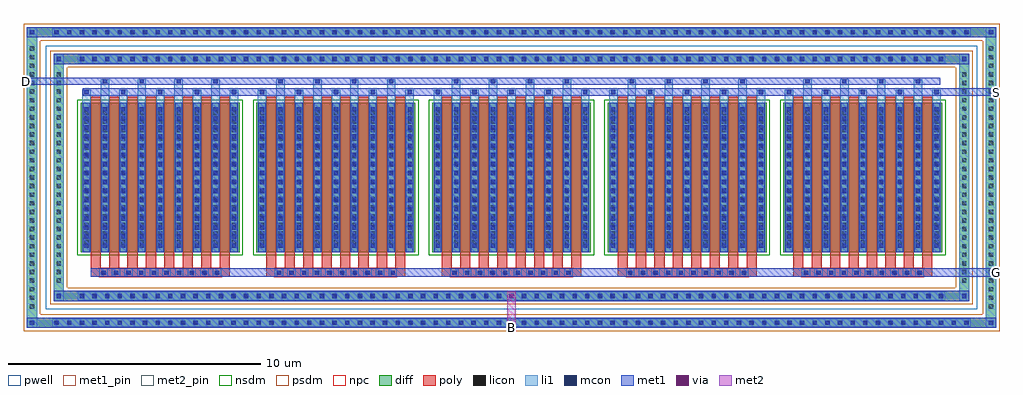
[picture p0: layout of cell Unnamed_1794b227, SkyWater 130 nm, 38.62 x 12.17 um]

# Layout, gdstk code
import gdstk
lib = gdstk.Library(unit=1e-6, precision=5e-09)
def R(c, l, rs):  # rectangles x0, y0, x1, y1
    for r in rs: c.add(gdstk.rectangle(r[:2], r[2:], *l))
def A(c, l, x, y, w, h, nx, ny, dx, dy):  # array of equal rectangles
    R(c, l, [(x+i*dx, y+j*dy, x+i*dx+w, y+j*dy+h) for i in range(nx) for j in range(ny)])
def P(c, l, *ps):  # polygons
    for p in ps: c.add(gdstk.Polygon(p, *l))
pwell = (64, 44)
diff = (65, 20)
poly = (66, 20)
licon = (66, 44)
li1 = (67, 20)
mcon = (67, 44)
met1_pin = (68, 16)
met1 = (68, 20)
via = (68, 44)
met2_pin = (69, 16)
met2 = (69, 20)
nsdm = (93, 44)
psdm = (94, 20)
npc = (95, 20)

unnamed_1794b227 = lib.new_cell('Unnamed_1794b227')
R(unnamed_1794b227, pwell, [(-18.43,-5.205,18.43,5.205)])
A(unnamed_1794b227, diff, -18.205, -5.955, 0.41, 0.41, 73, 2, 0.5, 11.5)
A(unnamed_1794b227, diff, -19.18, -5.305, 0.41, 0.41, 1, 31, 0, 0.34)
A(unnamed_1794b227, diff, 18.77, -5.305, 0.41, 0.41, 1, 31, 0, 0.34)
A(unnamed_1794b227, diff, -17.205, -4.895, 0.41, 0.41, 69, 2, 0.5, 9.38)
A(unnamed_1794b227, diff, -18.12, -4.285, 0.41, 0.41, 1, 25, 0, 0.34)
A(unnamed_1794b227, diff, 17.71, -4.285, 0.41, 0.41, 1, 25, 0, 0.34)
A(unnamed_1794b227, diff, -17.045, -2.95, 6.29, 5.9, 5, 1, 6.95, 0)
R(unnamed_1794b227, diff, [(-18.205,-5.955,18.205,-5.545), (-19.18,-5.305,-18.77,5.305), (18.77,-5.305,19.18,5.305), (-17.205,-4.895,17.205,-4.485), (-18.12,-4.285,-17.71,4.285), (17.71,-4.285,18.12,4.285), (-17.205,4.485,17.205,4.895), (-18.205,5.545,18.205,5.955)])
P(unnamed_1794b227, diff, [(19.18,5.955),(-19.18,5.955),(-19.18,-5.545),(-18.77,-5.545),(-18.77,5.545),(18.77,5.545),(18.77,-5.545),(-18.77,-5.545),(-19.18,-5.545),(-19.18,-5.955),(19.18,-5.955)],
  [(18.12,4.895),(-18.12,4.895),(-18.12,-4.485),(-17.71,-4.485),(-17.71,4.485),(17.71,4.485),(17.71,-4.485),(-17.71,-4.485),(-18.12,-4.485),(-18.12,-4.895),(18.12,-4.895)])
A(unnamed_1794b227, poly, -16.655, -3.93, 5.51, 0.33, 5, 1, 6.95, 0)
A(unnamed_1794b227, poly, -16.315, -3.93, 0.33, 0.33, 10, 1, 0.5, 0)
A(unnamed_1794b227, poly, -9.365, -3.93, 0.33, 0.33, 10, 1, 0.5, 0)
A(unnamed_1794b227, poly, -2.415, -3.93, 0.33, 0.33, 10, 1, 0.5, 0)
A(unnamed_1794b227, poly, 4.535, -3.93, 0.33, 0.33, 10, 1, 0.5, 0)
A(unnamed_1794b227, poly, 11.485, -3.93, 0.33, 0.33, 10, 1, 0.5, 0)
A(unnamed_1794b227, poly, -16.655, -3.6, 0.4, 0.4, 8, 1, 0.73, 0)
A(unnamed_1794b227, poly, -9.705, -3.6, 0.4, 0.4, 8, 1, 0.73, 0)
A(unnamed_1794b227, poly, -2.755, -3.6, 0.4, 0.4, 8, 1, 0.73, 0)
A(unnamed_1794b227, poly, 4.195, -3.6, 0.4, 0.4, 8, 1, 0.73, 0)
A(unnamed_1794b227, poly, 11.145, -3.6, 0.4, 0.4, 8, 1, 0.73, 0)
A(unnamed_1794b227, poly, -16.655, -3.2, 0.4, 6.4, 8, 1, 0.73, 0)
A(unnamed_1794b227, poly, -9.705, -3.2, 0.4, 6.4, 8, 1, 0.73, 0)
A(unnamed_1794b227, poly, -2.755, -3.2, 0.4, 6.4, 8, 1, 0.73, 0)
A(unnamed_1794b227, poly, 4.195, -3.2, 0.4, 6.4, 8, 1, 0.73, 0)
A(unnamed_1794b227, poly, 11.145, -3.2, 0.4, 6.4, 8, 1, 0.73, 0)
A(unnamed_1794b227, licon, -18.085, -5.835, 0.17, 0.17, 73, 2, 0.5, 11.5)
A(unnamed_1794b227, licon, -19.06, -5.185, 0.17, 0.17, 1, 31, 0, 0.34)
A(unnamed_1794b227, licon, 18.89, -5.185, 0.17, 0.17, 1, 31, 0, 0.34)
A(unnamed_1794b227, licon, -17.085, -4.775, 0.17, 0.17, 69, 2, 0.5, 9.38)
A(unnamed_1794b227, licon, -18, -4.165, 0.17, 0.17, 1, 25, 0, 0.34)
A(unnamed_1794b227, licon, 17.83, -4.165, 0.17, 0.17, 1, 25, 0, 0.34)
A(unnamed_1794b227, licon, -16.235, -3.85, 0.17, 0.17, 10, 1, 0.5, 0)
A(unnamed_1794b227, licon, -9.285, -3.85, 0.17, 0.17, 10, 1, 0.5, 0)
A(unnamed_1794b227, licon, -2.335, -3.85, 0.17, 0.17, 10, 1, 0.5, 0)
A(unnamed_1794b227, licon, 4.615, -3.85, 0.17, 0.17, 10, 1, 0.5, 0)
A(unnamed_1794b227, licon, 11.565, -3.85, 0.17, 0.17, 10, 1, 0.5, 0)
A(unnamed_1794b227, licon, -16.905, -2.635, 0.17, 0.17, 9, 16, 0.73, 0.34)
A(unnamed_1794b227, licon, -9.955, -2.635, 0.17, 0.17, 9, 16, 0.73, 0.34)
A(unnamed_1794b227, licon, -3.005, -2.635, 0.17, 0.17, 9, 16, 0.73, 0.34)
A(unnamed_1794b227, licon, 3.945, -2.635, 0.17, 0.17, 9, 16, 0.73, 0.34)
A(unnamed_1794b227, licon, 10.895, -2.635, 0.17, 0.17, 9, 16, 0.73, 0.34)
A(unnamed_1794b227, li1, -18.165, -5.915, 0.33, 0.33, 73, 2, 0.5, 11.5)
A(unnamed_1794b227, li1, -19.14, -5.265, 0.33, 0.33, 1, 31, 0, 0.34)
A(unnamed_1794b227, li1, 18.81, -5.265, 0.33, 0.33, 1, 31, 0, 0.34)
A(unnamed_1794b227, li1, -17.165, -4.855, 0.33, 0.33, 69, 2, 0.5, 9.38)
A(unnamed_1794b227, li1, -18.08, -4.245, 0.33, 0.33, 1, 25, 0, 0.34)
A(unnamed_1794b227, li1, 17.75, -4.245, 0.33, 0.33, 1, 25, 0, 0.34)
A(unnamed_1794b227, li1, -16.315, -3.93, 0.33, 0.33, 10, 1, 0.5, 0)
A(unnamed_1794b227, li1, -9.365, -3.93, 0.33, 0.33, 10, 1, 0.5, 0)
A(unnamed_1794b227, li1, -2.415, -3.93, 0.33, 0.33, 10, 1, 0.5, 0)
A(unnamed_1794b227, li1, 4.535, -3.93, 0.33, 0.33, 10, 1, 0.5, 0)
A(unnamed_1794b227, li1, 11.485, -3.93, 0.33, 0.33, 10, 1, 0.5, 0)
A(unnamed_1794b227, li1, -16.985, -2.95, 0.33, 5.9, 9, 1, 0.73, 0)
A(unnamed_1794b227, li1, -10.035, -2.95, 0.33, 5.9, 9, 1, 0.73, 0)
A(unnamed_1794b227, li1, -3.085, -2.95, 0.33, 5.9, 9, 1, 0.73, 0)
A(unnamed_1794b227, li1, 3.865, -2.95, 0.33, 5.9, 9, 1, 0.73, 0)
A(unnamed_1794b227, li1, 10.815, -2.95, 0.33, 5.9, 9, 1, 0.73, 0)
A(unnamed_1794b227, li1, -16.905, -2.785, 0.17, 0.17, 9, 16, 0.73, 0.36)
A(unnamed_1794b227, li1, -16.905, -2.785, 0.17, 5.57, 9, 1, 0.73, 0)
A(unnamed_1794b227, li1, -9.955, -2.785, 0.17, 0.17, 9, 16, 0.73, 0.36)
A(unnamed_1794b227, li1, -9.955, -2.785, 0.17, 5.57, 9, 1, 0.73, 0)
A(unnamed_1794b227, li1, -3.005, -2.785, 0.17, 0.17, 9, 16, 0.73, 0.36)
A(unnamed_1794b227, li1, -3.005, -2.785, 0.17, 5.57, 9, 1, 0.73, 0)
A(unnamed_1794b227, li1, 3.945, -2.785, 0.17, 0.17, 9, 16, 0.73, 0.36)
A(unnamed_1794b227, li1, 3.945, -2.785, 0.17, 5.57, 9, 1, 0.73, 0)
A(unnamed_1794b227, li1, 10.895, -2.785, 0.17, 0.17, 9, 16, 0.73, 0.36)
A(unnamed_1794b227, li1, 10.895, -2.785, 0.17, 5.57, 9, 1, 0.73, 0)
A(unnamed_1794b227, li1, -16.985, -2.715, 0.33, 0.33, 9, 16, 0.73, 0.34)
A(unnamed_1794b227, li1, -10.035, -2.715, 0.33, 0.33, 9, 16, 0.73, 0.34)
A(unnamed_1794b227, li1, -3.085, -2.715, 0.33, 0.33, 9, 16, 0.73, 0.34)
A(unnamed_1794b227, li1, 3.865, -2.715, 0.33, 0.33, 9, 16, 0.73, 0.34)
A(unnamed_1794b227, li1, 10.815, -2.715, 0.33, 0.33, 9, 16, 0.73, 0.34)
A(unnamed_1794b227, li1, -16.985, 2.95, 0.33, 0.515, 5, 1, 1.46, 0)
A(unnamed_1794b227, li1, -16.255, 2.95, 0.33, 0.945, 4, 1, 1.46, 0)
A(unnamed_1794b227, li1, -10.035, 2.95, 0.33, 0.515, 5, 1, 1.46, 0)
A(unnamed_1794b227, li1, -9.305, 2.95, 0.33, 0.945, 4, 1, 1.46, 0)
A(unnamed_1794b227, li1, -3.085, 2.95, 0.33, 0.515, 5, 1, 1.46, 0)
A(unnamed_1794b227, li1, -2.355, 2.95, 0.33, 0.945, 4, 1, 1.46, 0)
A(unnamed_1794b227, li1, 3.865, 2.95, 0.33, 0.515, 5, 1, 1.46, 0)
A(unnamed_1794b227, li1, 4.595, 2.95, 0.33, 0.945, 4, 1, 1.46, 0)
A(unnamed_1794b227, li1, 10.815, 2.95, 0.33, 0.515, 5, 1, 1.46, 0)
A(unnamed_1794b227, li1, 11.545, 2.95, 0.33, 0.945, 4, 1, 1.46, 0)
A(unnamed_1794b227, li1, -16.905, 3.295, 0.17, 0.17, 5, 1, 1.46, 0)
A(unnamed_1794b227, li1, -9.955, 3.295, 0.17, 0.17, 5, 1, 1.46, 0)
A(unnamed_1794b227, li1, -3.005, 3.295, 0.17, 0.17, 5, 1, 1.46, 0)
A(unnamed_1794b227, li1, 3.945, 3.295, 0.17, 0.17, 5, 1, 1.46, 0)
A(unnamed_1794b227, li1, 10.895, 3.295, 0.17, 0.17, 5, 1, 1.46, 0)
A(unnamed_1794b227, li1, -16.175, 3.725, 0.17, 0.17, 4, 1, 1.46, 0)
A(unnamed_1794b227, li1, -9.225, 3.725, 0.17, 0.17, 4, 1, 1.46, 0)
A(unnamed_1794b227, li1, -2.275, 3.725, 0.17, 0.17, 4, 1, 1.46, 0)
A(unnamed_1794b227, li1, 4.675, 3.725, 0.17, 0.17, 4, 1, 1.46, 0)
A(unnamed_1794b227, li1, 11.625, 3.725, 0.17, 0.17, 4, 1, 1.46, 0)
R(unnamed_1794b227, li1, [(-19.18,-5.955,-18.77,-5.545), (18.77,-5.955,19.18,-5.545), (-18.165,-5.915,18.165,-5.585), (-19.06,-5.835,-18.89,-5.665), (-19.06,-5.835,-18.89,-5.665), (18.89,-5.835,19.06,-5.665), (18.89,-5.835,19.06,-5.665), (-19.18,-5.545,-18.77,5.545), (18.77,-5.545,19.18,5.545), (-18.12,-4.895,-17.71,-4.485), (17.71,-4.895,18.12,-4.485), (-17.165,-4.855,17.165,-4.525), (-18,-4.775,-17.83,-4.605), (-18,-4.775,-17.83,-4.605), (17.83,-4.775,18,-4.605), (17.83,-4.775,18,-4.605), (-18.12,-4.485,-17.71,4.485), (17.71,-4.485,18.12,4.485), (-18.12,4.485,-17.71,4.895), (17.71,4.485,18.12,4.895), (-17.165,4.525,17.165,4.855), (-18,4.605,-17.83,4.775), (-18,4.605,-17.83,4.775), (17.83,4.605,18,4.775), (17.83,4.605,18,4.775), (-19.18,5.545,-18.77,5.955), (18.77,5.545,19.18,5.955), (-18.165,5.585,18.165,5.915), (-19.06,5.665,-18.89,5.835), (-19.06,5.665,-18.89,5.835), (18.89,5.665,19.06,5.835), (18.89,5.665,19.06,5.835)])
A(unnamed_1794b227, mcon, -18.085, -5.835, 0.17, 0.17, 73, 2, 0.5, 11.5)
A(unnamed_1794b227, mcon, -17.085, -4.775, 0.17, 0.17, 69, 2, 0.5, 9.38)
A(unnamed_1794b227, mcon, -16.235, -3.85, 0.17, 0.17, 10, 1, 0.5, 0)
A(unnamed_1794b227, mcon, -9.285, -3.85, 0.17, 0.17, 10, 1, 0.5, 0)
A(unnamed_1794b227, mcon, -2.335, -3.85, 0.17, 0.17, 10, 1, 0.5, 0)
A(unnamed_1794b227, mcon, 4.615, -3.85, 0.17, 0.17, 10, 1, 0.5, 0)
A(unnamed_1794b227, mcon, 11.565, -3.85, 0.17, 0.17, 10, 1, 0.5, 0)
A(unnamed_1794b227, mcon, -16.905, -2.785, 0.17, 0.17, 9, 16, 0.73, 0.36)
A(unnamed_1794b227, mcon, -9.955, -2.785, 0.17, 0.17, 9, 16, 0.73, 0.36)
A(unnamed_1794b227, mcon, -3.005, -2.785, 0.17, 0.17, 9, 16, 0.73, 0.36)
A(unnamed_1794b227, mcon, 3.945, -2.785, 0.17, 0.17, 9, 16, 0.73, 0.36)
A(unnamed_1794b227, mcon, 10.895, -2.785, 0.17, 0.17, 9, 16, 0.73, 0.36)
A(unnamed_1794b227, mcon, -16.905, 3.295, 0.17, 0.17, 5, 1, 1.46, 0)
A(unnamed_1794b227, mcon, -9.955, 3.295, 0.17, 0.17, 5, 1, 1.46, 0)
A(unnamed_1794b227, mcon, -3.005, 3.295, 0.17, 0.17, 5, 1, 1.46, 0)
A(unnamed_1794b227, mcon, 3.945, 3.295, 0.17, 0.17, 5, 1, 1.46, 0)
A(unnamed_1794b227, mcon, 10.895, 3.295, 0.17, 0.17, 5, 1, 1.46, 0)
A(unnamed_1794b227, mcon, -16.175, 3.725, 0.17, 0.17, 4, 1, 1.46, 0)
A(unnamed_1794b227, mcon, -9.225, 3.725, 0.17, 0.17, 4, 1, 1.46, 0)
A(unnamed_1794b227, mcon, -2.275, 3.725, 0.17, 0.17, 4, 1, 1.46, 0)
A(unnamed_1794b227, mcon, 4.675, 3.725, 0.17, 0.17, 4, 1, 1.46, 0)
A(unnamed_1794b227, mcon, 11.625, 3.725, 0.17, 0.17, 4, 1, 1.46, 0)
R(unnamed_1794b227, mcon, [(-19.06,-5.835,-18.89,-5.665), (18.89,-5.835,19.06,-5.665), (-18,-4.775,-17.83,-4.605), (17.83,-4.775,18,-4.605), (-18,4.605,-17.83,4.775), (17.83,4.605,18,4.775), (-19.06,5.665,-18.89,5.835), (18.89,5.665,19.06,5.835)])
R(unnamed_1794b227, met1_pin, [(19.04,-3.9,19.31,-3.63), (19.04,3.245,19.31,3.515), (-19.31,3.675,-19.04,3.945)])
A(unnamed_1794b227, met1, -18.145, -5.895, 0.29, 0.29, 73, 2, 0.5, 11.5)
A(unnamed_1794b227, met1, -17.145, -4.835, 0.29, 0.29, 69, 2, 0.5, 9.38)
A(unnamed_1794b227, met1, -16.655, -3.93, 5.51, 0.33, 5, 1, 6.95, 0)
A(unnamed_1794b227, met1, -11.145, -3.93, 1.44, 0.33, 4, 1, 6.95, 0)
A(unnamed_1794b227, met1, -16.295, -3.91, 0.29, 0.29, 10, 1, 0.5, 0)
A(unnamed_1794b227, met1, -9.345, -3.91, 0.29, 0.29, 10, 1, 0.5, 0)
A(unnamed_1794b227, met1, -2.395, -3.91, 0.29, 0.29, 10, 1, 0.5, 0)
A(unnamed_1794b227, met1, 4.555, -3.91, 0.29, 0.29, 10, 1, 0.5, 0)
A(unnamed_1794b227, met1, 11.505, -3.91, 0.29, 0.29, 10, 1, 0.5, 0)
A(unnamed_1794b227, met1, -16.965, -2.95, 0.29, 5.9, 9, 1, 0.73, 0)
A(unnamed_1794b227, met1, -10.015, -2.95, 0.29, 5.9, 9, 1, 0.73, 0)
A(unnamed_1794b227, met1, -3.065, -2.95, 0.29, 5.9, 9, 1, 0.73, 0)
A(unnamed_1794b227, met1, 3.885, -2.95, 0.29, 5.9, 9, 1, 0.73, 0)
A(unnamed_1794b227, met1, 10.835, -2.95, 0.29, 5.9, 9, 1, 0.73, 0)
A(unnamed_1794b227, met1, -16.965, -2.845, 0.29, 0.29, 9, 16, 0.73, 0.36)
A(unnamed_1794b227, met1, -10.015, -2.845, 0.29, 0.29, 9, 16, 0.73, 0.36)
A(unnamed_1794b227, met1, -3.065, -2.845, 0.29, 0.29, 9, 16, 0.73, 0.36)
A(unnamed_1794b227, met1, 3.885, -2.845, 0.29, 0.29, 9, 16, 0.73, 0.36)
A(unnamed_1794b227, met1, 10.835, -2.845, 0.29, 0.29, 9, 16, 0.73, 0.36)
A(unnamed_1794b227, met1, -16.965, 3.235, 0.29, 0.29, 5, 1, 1.46, 0)
A(unnamed_1794b227, met1, -16.965, 3.235, 6.13, 0.29, 5, 2, 6.95, 0.43)
A(unnamed_1794b227, met1, -10.835, 3.235, 0.82, 0.29, 4, 2, 6.95, 0.43)
A(unnamed_1794b227, met1, -10.015, 3.235, 0.29, 0.29, 5, 1, 1.46, 0)
A(unnamed_1794b227, met1, -3.065, 3.235, 0.29, 0.29, 5, 1, 1.46, 0)
A(unnamed_1794b227, met1, 3.885, 3.235, 0.29, 0.29, 5, 1, 1.46, 0)
A(unnamed_1794b227, met1, 10.835, 3.235, 0.29, 0.29, 5, 1, 1.46, 0)
A(unnamed_1794b227, met1, -16.235, 3.665, 0.29, 0.29, 4, 1, 1.46, 0)
A(unnamed_1794b227, met1, -9.285, 3.665, 0.29, 0.29, 4, 1, 1.46, 0)
A(unnamed_1794b227, met1, -2.335, 3.665, 0.29, 0.29, 4, 1, 1.46, 0)
A(unnamed_1794b227, met1, 4.615, 3.665, 0.29, 0.29, 4, 1, 1.46, 0)
A(unnamed_1794b227, met1, 11.565, 3.665, 0.29, 0.29, 4, 1, 1.46, 0)
R(unnamed_1794b227, met1, [(-19.18,-5.955,-18.77,-5.545), (-19.18,-5.955,-18.77,-5.545), (-18.77,-5.955,18.77,-5.545), (18.77,-5.955,19.18,-5.545), (18.77,-5.955,19.18,-5.545), (-19.12,-5.895,-18.83,-5.605), (18.83,-5.895,19.12,-5.605), (-18.12,-4.895,-17.71,-4.485), (-18.12,-4.895,-17.71,-4.485), (-17.71,-4.895,17.71,-4.485), (17.71,-4.895,18.12,-4.485), (17.71,-4.895,18.12,-4.485), (-18.06,-4.835,-17.77,-4.545), (17.77,-4.835,18.06,-4.545), (16.655,-3.93,19.31,-3.6), (16.965,3.235,19.31,3.525), (-19.31,3.665,-16.965,3.955), (-18.12,4.485,-17.71,4.895), (-18.12,4.485,-17.71,4.895), (-17.71,4.485,17.71,4.895), (17.71,4.485,18.12,4.895), (17.71,4.485,18.12,4.895), (-18.06,4.545,-17.77,4.835), (17.77,4.545,18.06,4.835), (-19.18,5.545,-18.77,5.955), (-19.18,5.545,-18.77,5.955), (-18.77,5.545,18.77,5.955), (18.77,5.545,19.18,5.955), (18.77,5.545,19.18,5.955), (-19.12,5.605,-18.83,5.895), (18.83,5.605,19.12,5.895)])
R(unnamed_1794b227, via, [(-0.075,-4.765,0.075,-4.615)])
R(unnamed_1794b227, met2_pin, [(-0.135,-6.085,0.135,-5.815)])
R(unnamed_1794b227, met2, [(-0.165,-6.085,0.165,-4.525), (-0.165,-4.855,0.165,-4.525)])
A(unnamed_1794b227, nsdm, -17.175, -3.08, 6.55, 6.16, 5, 1, 6.95, 0)
P(unnamed_1794b227, psdm, [(19.31,6.085),(-19.31,6.085),(-19.31,-5.415),(-18.64,-5.415),(-18.64,5.415),(18.64,5.415),(18.64,-5.415),(-18.64,-5.415),(-19.31,-5.415),(-19.31,-6.085),(19.31,-6.085)],
  [(18.25,5.025),(-18.25,5.025),(-18.25,-4.355),(-17.58,-4.355),(-17.58,4.355),(17.58,4.355),(17.58,-4.355),(-17.58,-4.355),(-18.25,-4.355),(-18.25,-5.025),(18.25,-5.025)])
A(unnamed_1794b227, npc, -16.335, -3.95, 0.37, 0.37, 10, 1, 0.5, 0)
A(unnamed_1794b227, npc, -9.385, -3.95, 0.37, 0.37, 10, 1, 0.5, 0)
A(unnamed_1794b227, npc, -2.435, -3.95, 0.37, 0.37, 10, 1, 0.5, 0)
A(unnamed_1794b227, npc, 4.515, -3.95, 0.37, 0.37, 10, 1, 0.5, 0)
A(unnamed_1794b227, npc, 11.465, -3.95, 0.37, 0.37, 10, 1, 0.5, 0)
R(unnamed_1794b227, npc, [(-16.335,-3.95,-15.465,-3.58), (-16.335,-3.95,-15.465,-3.58), (-15.835,-3.95,-14.965,-3.58), (-15.835,-3.95,-14.965,-3.58), (-15.335,-3.95,-14.465,-3.58), (-15.335,-3.95,-14.465,-3.58), (-14.835,-3.95,-13.965,-3.58), (-14.835,-3.95,-13.965,-3.58), (-14.335,-3.95,-13.465,-3.58), (-14.335,-3.95,-13.465,-3.58), (-13.835,-3.95,-12.965,-3.58), (-13.835,-3.95,-12.965,-3.58), (-13.335,-3.95,-12.465,-3.58), (-13.335,-3.95,-12.465,-3.58), (-12.835,-3.95,-11.965,-3.58), (-12.835,-3.95,-11.965,-3.58), (-12.335,-3.95,-11.465,-3.58), (-12.335,-3.95,-11.465,-3.58), (-9.385,-3.95,-8.515,-3.58), (-9.385,-3.95,-8.515,-3.58), (-8.885,-3.95,-8.015,-3.58), (-8.885,-3.95,-8.015,-3.58), (-8.385,-3.95,-7.515,-3.58), (-8.385,-3.95,-7.515,-3.58), (-7.885,-3.95,-7.015,-3.58), (-7.885,-3.95,-7.015,-3.58), (-7.385,-3.95,-6.515,-3.58), (-7.385,-3.95,-6.515,-3.58), (-6.885,-3.95,-6.015,-3.58), (-6.885,-3.95,-6.015,-3.58), (-6.385,-3.95,-5.515,-3.58), (-6.385,-3.95,-5.515,-3.58), (-5.885,-3.95,-5.015,-3.58), (-5.885,-3.95,-5.015,-3.58), (-5.385,-3.95,-4.515,-3.58), (-5.385,-3.95,-4.515,-3.58), (-2.435,-3.95,-1.565,-3.58), (-2.435,-3.95,-1.565,-3.58), (-1.935,-3.95,-1.065,-3.58), (-1.935,-3.95,-1.065,-3.58), (-1.435,-3.95,-0.565,-3.58), (-1.435,-3.95,-0.565,-3.58), (-0.935,-3.95,-0.065,-3.58), (-0.935,-3.95,-0.065,-3.58), (-0.435,-3.95,0.435,-3.58), (-0.435,-3.95,0.435,-3.58), (0.065,-3.95,0.935,-3.58), (0.065,-3.95,0.935,-3.58), (0.565,-3.95,1.435,-3.58), (0.565,-3.95,1.435,-3.58), (1.065,-3.95,1.935,-3.58), (1.065,-3.95,1.935,-3.58), (1.565,-3.95,2.435,-3.58), (1.565,-3.95,2.435,-3.58), (4.515,-3.95,5.385,-3.58), (4.515,-3.95,5.385,-3.58), (5.015,-3.95,5.885,-3.58), (5.015,-3.95,5.885,-3.58), (5.515,-3.95,6.385,-3.58), (5.515,-3.95,6.385,-3.58), (6.015,-3.95,6.885,-3.58), (6.015,-3.95,6.885,-3.58), (6.515,-3.95,7.385,-3.58), (6.515,-3.95,7.385,-3.58), (7.015,-3.95,7.885,-3.58), (7.015,-3.95,7.885,-3.58), (7.515,-3.95,8.385,-3.58), (7.515,-3.95,8.385,-3.58), (8.015,-3.95,8.885,-3.58), (8.015,-3.95,8.885,-3.58), (8.515,-3.95,9.385,-3.58), (8.515,-3.95,9.385,-3.58), (11.465,-3.95,12.335,-3.58), (11.465,-3.95,12.335,-3.58), (11.965,-3.95,12.835,-3.58), (11.965,-3.95,12.835,-3.58), (12.465,-3.95,13.335,-3.58), (12.465,-3.95,13.335,-3.58), (12.965,-3.95,13.835,-3.58), (12.965,-3.95,13.835,-3.58), (13.465,-3.95,14.335,-3.58), (13.465,-3.95,14.335,-3.58), (13.965,-3.95,14.835,-3.58), (13.965,-3.95,14.835,-3.58), (14.465,-3.95,15.335,-3.58), (14.465,-3.95,15.335,-3.58), (14.965,-3.95,15.835,-3.58), (14.965,-3.95,15.835,-3.58), (15.465,-3.95,16.335,-3.58), (15.465,-3.95,16.335,-3.58)])
unnamed_1794b227.add(gdstk.Label('D', (-19.175,3.81), layer=68, texttype=5))
unnamed_1794b227.add(gdstk.Label('S', (19.175,3.38), layer=68, texttype=5))
unnamed_1794b227.add(gdstk.Label('G', (19.175,-3.765), layer=68, texttype=5))
unnamed_1794b227.add(gdstk.Label('B', (0,-5.95), layer=69, texttype=5))

lib.write_gds('Unnamed_1794b227.gds')
